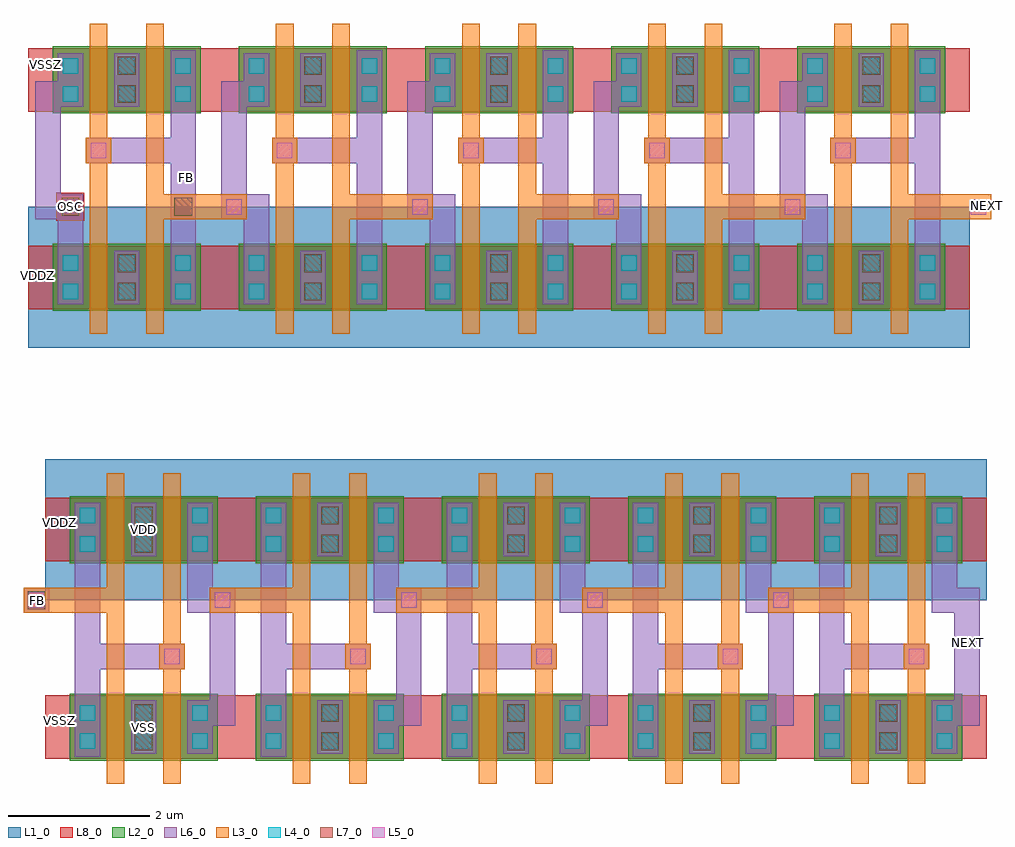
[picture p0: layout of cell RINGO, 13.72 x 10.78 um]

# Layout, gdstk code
from math import pi, radians
import gdstk
lib = gdstk.Library(unit=1e-6, precision=1e-09)
def R(c, l, rs):  # rectangles x0, y0, x1, y1
    for r in rs: c.add(gdstk.rectangle(r[:2], r[2:], *l))
L1_0 = (1, 0)
L2_0 = (2, 0)
L3_0 = (3, 0)
L4_0 = (4, 0)
L5_0 = (5, 0)
L6_0 = (6, 0)
L7_0 = (7, 0)
L8_0 = (8, 0)

trans = lib.new_cell('TRANS')
R(trans, L2_0, [(-0.65,-0.475,0.65,0.475)])
R(trans, L4_0, [(-0.51,-0.31,-0.29,-0.09), (0.29,-0.31,0.51,-0.09), (-0.51,0.09,-0.29,0.31), (0.29,0.09,0.51,0.31)])
R(trans, L6_0, [(-0.58,-0.38,-0.22,0.38), (0.22,-0.38,0.58,0.38)])
trans.add(gdstk.FlexPath([(0,-0.8),(0,0.8)], 0.25, ends="flush", simple_path=True, layer=3, datatype=0))  # L3_0

inv2 = lib.new_cell('INV2')
R(inv2, L1_0, [(-1.4,1.8,1.4,3.8)])
R(inv2, L3_0, [(-0.525,-0.25,-0.275,2.25), (0.275,-0.25,0.525,2.25), (0.22,0.82,0.58,1.18), (-1.7,1.62,-0.4,1.98)])
R(inv2, L5_0, [(0.29,0.89,0.51,1.11), (-1.63,1.69,-1.41,1.91)])
R(inv2, L6_0, [(-0.98,-0.42,-0.62,2.42), (-0.8,0.82,0.58,1.18)])
R(inv2, L7_0, [(-0.125,-0.325,0.125,-0.075), (-0.125,0.075,0.125,0.325), (-0.125,2.475,0.125,2.725), (-0.125,2.875,0.125,3.125)])
R(inv2, L8_0, [(-1.4,-0.45,1.4,0.45), (-1.4,2.35,1.4,3.25)])
inv2.add(gdstk.FlexPath([(0.8,0.2),(1.12,0.2),(1.12,1.8),(0.8,1.8),(0.8,2.42)], 0.36, ends="flush", simple_path=True, layer=6, datatype=0))  # L6_0
inv2.add(gdstk.Reference(trans, (-0.4,0)))
inv2.add(gdstk.Reference(trans, (-0.4,2.8)))
inv2.add(gdstk.Reference(trans, (0.4,0), x_reflection=True))
inv2.add(gdstk.Reference(trans, (0.4,2.8), x_reflection=True))
inv2.add(gdstk.Label('VDD', (-1.17,2.75), layer=8, texttype=0))
inv2.add(gdstk.Label('VSS', (-1.18,0.02), layer=8, texttype=0))
inv2.add(gdstk.Label('IN', (-0.8,1.8), layer=3, texttype=1))
inv2.add(gdstk.Label('OUT', (0.8,1.8), layer=6, texttype=1))

ringo = lib.new_cell('RINGO')
R(ringo, L6_0, [(-1.7,1.62,-1.34,1.98)])
R(ringo, L7_0, [(-1.645,1.675,-1.395,1.925), (-1.165,7.255,-0.915,7.505), (0.435,7.255,0.685,7.505)])
R(ringo, L8_0, [(-1.24,7.18,-0.84,7.58)])
ringo.add(gdstk.Reference(inv2, (0,0)))
ringo.add(gdstk.Reference(inv2, (2.64,0)))
ringo.add(gdstk.Reference(inv2, (5.28,0)))
ringo.add(gdstk.Reference(inv2, (7.92,0)))
ringo.add(gdstk.Reference(inv2, (10.56,0)))
ringo.add(gdstk.Reference(inv2, (10.32,9.18), rotation=pi))
ringo.add(gdstk.Reference(inv2, (7.68,9.18), rotation=pi))
ringo.add(gdstk.Reference(inv2, (5.04,9.18), rotation=pi))
ringo.add(gdstk.Reference(inv2, (2.4,9.18), rotation=pi))
ringo.add(gdstk.Reference(inv2, (-0.24,9.18), rotation=pi))
ringo.add(gdstk.Label('FB', (-1.5,1.8), layer=6, texttype=0))
ringo.add(gdstk.Label('FB', (0.6,7.8), layer=6, texttype=0))
ringo.add(gdstk.Label('NEXT', (11.68,1.2), layer=6, texttype=0))
ringo.add(gdstk.Label('NEXT', (11.95,7.4), layer=3, texttype=0))
ringo.add(gdstk.Label('VSSZ', (-1.4,9.4), layer=8, texttype=0))
ringo.add(gdstk.Label('VDDZ', (-1.5,6.4), layer=8, texttype=0))
ringo.add(gdstk.Label('VDDZ', (-1.2,2.9), layer=8, texttype=0))
ringo.add(gdstk.Label('VSSZ', (-1.2,0.1), layer=8, texttype=0))
ringo.add(gdstk.Label('OSC', (-1.04,7.38), layer=8, texttype=1))
ringo.add(gdstk.Label('VSS', (0,0), layer=8, texttype=1))
ringo.add(gdstk.Label('VDD', (0,2.8), layer=8, texttype=1))

lib.write_gds('RINGO.gds')
